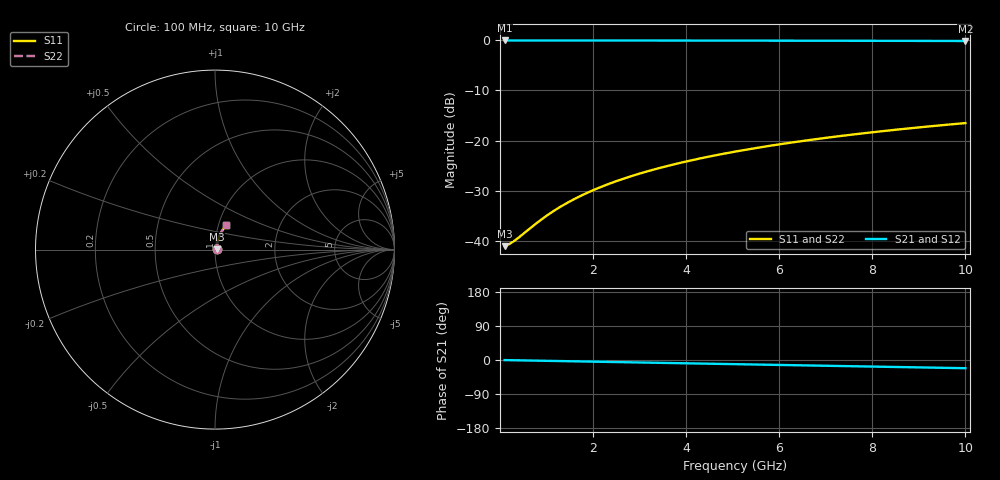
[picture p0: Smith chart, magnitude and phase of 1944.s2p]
# Hz S RI R 50.00
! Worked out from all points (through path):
!   100 points, 100 MHz to 10 GHz, reference 50 ohm
!   highest |S21| = -0.08 dB at 100 MHz (marker M1); lowest = -0.2 dB at 10 GHz (marker M2)
!   group delay of S21, straight-line fit = 6.01 ps
!   lowest |S11| = -41.0 dB at 100 MHz (marker M3), VSWR 1.02, Z = 50.9 + j0.153 ohm
!   |S11| at or under -10 dB: start of sweep to end of sweep
!   |S22| runs from -41.0 to -16.5 dB; largest |S21 - S12| = 0
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1e8  0.00876 0.0015  0.9912 -0.00377  0.9912 -0.00377  0.00876 0.0015
2e8  0.00884 0.00301  0.9911 -0.00754  0.9911 -0.00754  0.00884 0.00301
3e8  0.00891 0.00451  0.9911 -0.0113  0.9911 -0.0113  0.00891 0.00451
4e8  0.00898 0.00601  0.991 -0.0151  0.991 -0.0151  0.00898 0.00601
8e8  0.00935 0.012  0.9905 -0.0301  0.9905 -0.0301  0.00935 0.012
1.1e9  0.00973 0.0165  0.9899 -0.0414  0.9899 -0.0414  0.00973 0.0165
1.4e9  0.0102 0.021  0.9893 -0.0527  0.9893 -0.0527  0.0102 0.021
1.6e9  0.0106 0.024  0.9887 -0.0602  0.9887 -0.0602  0.0106 0.024
1.8e9  0.011 0.027  0.9881 -0.0677  0.9881 -0.0677  0.011 0.027
2.1e9  0.0117 0.0314  0.9871 -0.0789  0.9871 -0.0789  0.0117 0.0314
2.5e9  0.0128 0.0373  0.9856 -0.0939  0.9856 -0.0939  0.0128 0.0373
2.9e9  0.014 0.0432  0.9837 -0.1088  0.9837 -0.1088  0.014 0.0432
3.4e9  0.0159 0.0504  0.9811 -0.1274  0.9811 -0.1274  0.0159 0.0504
3.8e9  0.0175 0.0562  0.9787 -0.1422  0.9787 -0.1422  0.0175 0.0562
4.2e9  0.0194 0.0619  0.976 -0.157  0.976 -0.157  0.0194 0.0619
4.6e9  0.0214 0.0675  0.9731 -0.1717  0.9731 -0.1717  0.0214 0.0675
5.1e9  0.0241 0.0745  0.9691 -0.1899  0.9691 -0.1899  0.0241 0.0745
5.9e9  0.029 0.0854  0.9619 -0.2189  0.9619 -0.2189  0.029 0.0854
6.7e9  0.0345 0.0959  0.9537 -0.2475  0.9537 -0.2475  0.0345 0.0959
7.5e9  0.0407 0.1061  0.9446 -0.2758  0.9446 -0.2758  0.0407 0.1061
8.4e9  0.0483 0.117  0.9332 -0.307  0.9332 -0.307  0.0483 0.117
1e10  0.0636 0.135  0.9102 -0.3611  0.9102 -0.3611  0.0636 0.135
